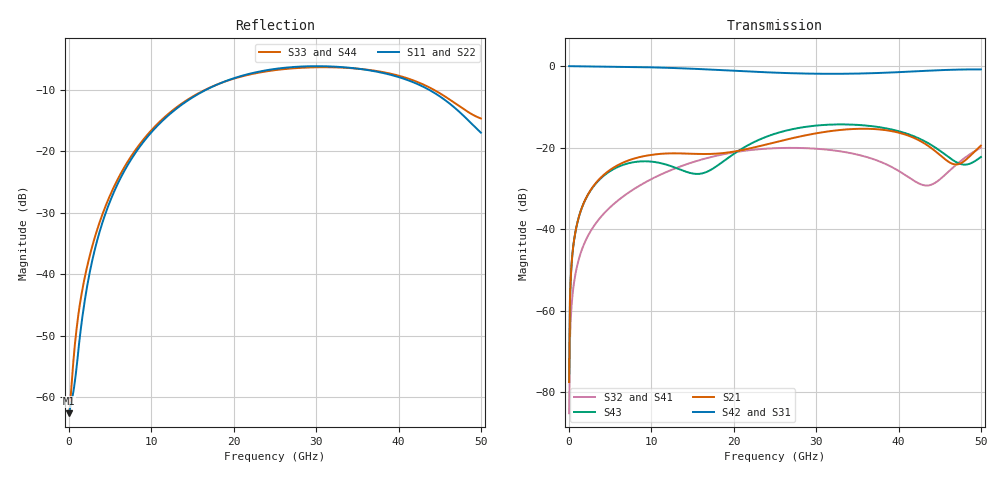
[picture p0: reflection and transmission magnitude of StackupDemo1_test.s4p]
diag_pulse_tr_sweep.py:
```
"""tr 扫描：固定文件 + 端口对，扫 tr ∈ {10,20,35,50} ps × 7 种窗。

横向：tr 值；纵向：窗类型。
"""
import os, sys
import numpy as np
import skrf as rf
import matplotlib
matplotlib.use("Agg")
import matplotlib.pyplot as plt

ROOT = os.path.dirname(os.path.dirname(os.path.abspath(__file__)))
sys.path.insert(0, ROOT)
plt.rcParams["font.sans-serif"] = ["SimHei"] if sys.platform == "win32" else ["WenQuanYi Zen Hei"]
plt.rcParams["axes.unicode_minus"] = False

from QS_domain.algorithms.time_domain import compute_time_domain

TEST_FILE = r"C:/Users/33202/Desktop/HFSS script/StackupDemo1_test.s4p"
P1, P2 = 1, 3
WAVEFORM = "pulse"
TR_LIST = [10.0, 20.0, 35.0, 50.0]
DT_PS = 25.0
WINDOWS = ["gaussian", "rect", "hanning", "hamming", "blackman", "tukey", "kaiser"]
ZH = {"gaussian": "高斯", "rect": "矩形", "hanning": "汉宁", "hamming": "汉明",
      "blackman": "布莱克曼", "tukey": "Tukey", "kaiser": "Kaiser"}

ntw = rf.Network(TEST_FILE)
out_dir = os.path.join(ROOT, "dev_scripts", "diag_out")
os.makedirs(out_dir, exist_ok=True)

print(f"扫描 tr × 窗   文件={os.path.basename(TEST_FILE)}  S{P1},{P2}  {WAVEFORM}")
print(f"{'窗':<10s}", end="")
for tr in TR_LIST:
    print(f"   tr={tr:.0f}ps: y[0]   peak    |tail|_rms", end="")
print()
print("-" * (10 + len(TR_LIST) * 35))

XLIM_PS = 800  # 主峰附近
fig, axes = plt.subplots(len(WINDOWS), len(TR_LIST),
                          figsize=(3.8 * len(TR_LIST), 2.0 * len(WINDOWS)),
                          sharex=True, sharey=False)
for i, win in enumerate(WINDOWS):
    print(f"{ZH[win]:<10s}", end="")
    for j, tr in enumerate(TR_LIST):
        r = compute_time_domain(ntw, P1, P2, waveform=WAVEFORM,
                                  tr_ps=tr, dt_ps=DT_PS, window_type=win)
        t = r["time_ps"]; y = r["y_data"]
        n = len(y); tail = y[int(n * 0.85):]
        rms = np.sqrt(np.mean(tail ** 2))
        print(f"   {y[0]:+.3f} {y.max():+.3f} {rms:.3e}", end="")

        ax = axes[i, j]
        ax.plot(t, y, lw=0.9)
        ax.axhline(0, color="gray", lw=0.4, ls="--")
        ax.axvline(0, color="red", lw=0.4, ls=":")
        ax.grid(True, alpha=0.3)
        ax.set_xlim(-20, XLIM_PS)
        if i == 0:
            ax.set_title(f"tr={tr:.0f}ps", fontsize=10)
        if j == 0:
            ax.set_ylabel(f"{ZH[win]}\n({win})", fontsize=9)
        ax.text(0.99, 0.95, f"y[0]={y[0]:+.3f}\npeak={y.max():.2f}@{t[np.argmax(y)]:.0f}ps",
                transform=ax.transAxes, ha="right", va="top",
                fontsize=8, color="red")
    print()

for ax in axes[-1, :]:
    ax.set_xlabel("时间 (ps)")
fig.suptitle(f"{os.path.basename(TEST_FILE)}  S{P1},{P2}  {WAVEFORM}   "
             f"dt={DT_PS}ps   (横向: tr; 纵向: 窗)",
             fontsize=11)
plt.tight_layout(rect=(0, 0, 1, 0.985))
out_path = os.path.join(out_dir, f"pulse_tr_sweep_S{P1}{P2}.png")
plt.savefig(out_path, dpi=110)
print(f"\n图像已保存: {out_path}")
```
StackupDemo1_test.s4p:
! Touchstone file exported from HFSS 2019.1.0
!  File:  C:/Users/33202/Desktop/HFSS script/StackupDemo1_test.aedt
!  Generated:  5:38:57 ä¸å  8æ 29, 2025
!  Design:  StackupDesign
!  Project:  StackupDemo1_test
!  Setup:  Setup1
!  Solution:  Sweep1
! Variables:
!  Position_via_L11 = 0um
!  Position_via_L16 = 0um
!  Position_via_L4 = 758um
!  Position_via_L8 = 336um
!  Position_via_L9 = 240um
!  R_L10_pad_out = 45um
!  R_L11_pad_in = 45um
!  R_L11_pad_out = 45um
!  R_L12_pad_out = 45um
!  R_L13_pad_out = 45um
!  R_L14_pad_out = 45um
!  R_L15_pad_out = 45um
!  R_L16_pad_in = 150um
!  R_L16_pad_out = 150um
!  R_L4_pad_in = 45um
!  R_L4_pad_out = 45um
!  R_L5_pad_out = 45um
!  R_L6_pad_out = 45um
!  R_L7_pad_out = 45um
!  R_L8_pad_in = 50um
!  R_L8_pad_out = 100um
!  R_L9_pad_in = 100um
!  R_L9_pad_out = 50um
!  R_anti_L11 = 90um
!  R_anti_L16 = 450um
!  R_anti_L4 = 90um
!  R_anti_L8 = 180um
!  R_anti_L9 = 90um
!  R_anti_pcb = 400um
!  R_bottom_anti = 450um
!  R_bottom_pad = 150um
!  R_core_anti = 180um
!  R_core_pad = 100um
!  R_core_via = 50um
!  R_micro_anti = 90um
!  R_micro_c_anti = 100um
!  R_micro_c_pad = 50um
!  R_micro_c_via = 30um
!  R_micro_pad = 45um
!  R_micro_via = 30um
!  R_pad_pcb = 150um
!  R_via_pcb = 50um
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# GHz S RI R
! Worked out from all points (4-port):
!   500 points, 10 MHz to 50 GHz, reference per port
!   strongest paths, dB at 10 MHz, 12.53 GHz, 25.06 GHz, 37.58 GHz, 50 GHz:
!     S42: 0.0, -0.4, -1.6, -1.7, -0.8
!     S31: 0.0, -0.4, -1.6, -1.7, -0.8
!     S21: -77.5, -21.4, -18.7, -15.5, -19.5
!     S43: -77.5, -24.6, -16.6, -15.0, -22.3
!     S32: -85.2, -25.4, -20.1, -23.3, -20.0
!     S41: -85.2, -25.4, -20.1, -23.3, -20.0
!   lowest |S11| = -62.7 dB at 10 MHz (marker M1), VSWR 1.00
!   |S11| at or under -10 dB: start of sweep to 16.55 GHz; 43.78 GHz to end of sweep
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0.01  0.000736 1.08e-05  3.92e-05 0.000127  0.9992 -0.00151  -3.79e-05 -3.97e-05
      3.92e-05 0.000127  0.000736 1.08e-05  -3.79e-05 -3.97e-05  0.9992 -0.00151
      0.9992 -0.00151  -3.79e-05 -3.97e-05  0.000737 1e-05  3.93e-05 0.000127
      -3.79e-05 -3.97e-05  0.9992 -0.00151  3.93e-05 0.000127  0.000736 9.97e-06
6.321363  -0.0542 0.0301  0.0377 0.0516  0.6236 -0.7589  -0.0183 -0.0156
          0.0377 0.0516  -0.0543 0.0301  -0.0183 -0.0156  0.6235 -0.759
          0.6236 -0.7589  -0.0183 -0.0156  0.0171 -0.0647  0.0547 0.0251
          -0.0183 -0.0156  0.6235 -0.759  0.0547 0.0251  0.0171 -0.0647
50  -0.1337 0.0489  0.1049 0.014  0.8416 -0.3508  -0.0297 -0.0953
    0.1049 0.014  -0.1332 0.0497  -0.0297 -0.0954  0.8415 -0.3511
    0.8416 -0.3508  -0.0297 -0.0954  0.1797 -0.0474  -0.0562 0.0523
    -0.0297 -0.0953  0.8415 -0.3511  -0.0562 0.0523  0.18 -0.0466
